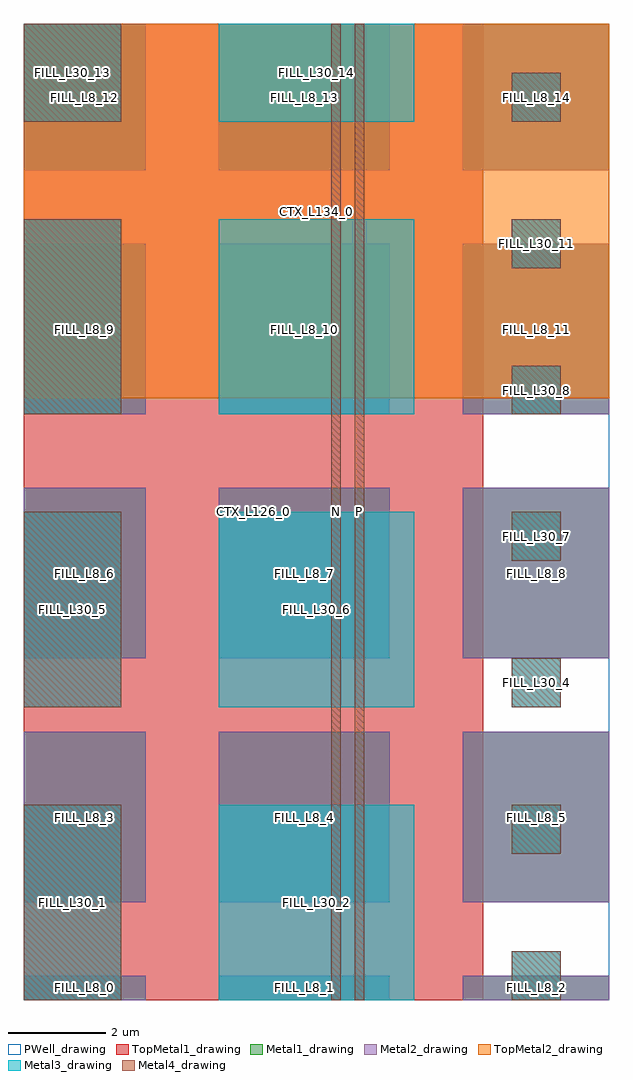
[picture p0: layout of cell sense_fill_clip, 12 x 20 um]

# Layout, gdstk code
import gdstk
lib = gdstk.Library(unit=1e-6, precision=1e-09)
def R(c, l, rs):  # rectangles x0, y0, x1, y1
    for r in rs: c.add(gdstk.rectangle(r[:2], r[2:], *l))
def A(c, l, x, y, w, h, nx, ny, dx, dy):  # array of equal rectangles
    R(c, l, [(x+i*dx, y+j*dy, x+i*dx+w, y+j*dy+h) for i in range(nx) for j in range(ny)])
Metal1_drawing = (8, 0)
Metal2_drawing = (10, 0)
Metal3_drawing = (30, 0)
PWell_drawing = (46, 0)
Metal4_drawing = (50, 0)
TopMetal1_drawing = (126, 0)
TopMetal2_drawing = (134, 0)

sense_fill_clip = lib.new_cell('sense_fill_clip')
A(sense_fill_clip, Metal1_drawing, 1016, 470, 2.5, 3.5, 1, 3, 0, 5)
A(sense_fill_clip, Metal1_drawing, 1020, 470, 3.5, 3.5, 1, 3, 0, 5)
A(sense_fill_clip, Metal1_drawing, 1025, 470, 3, 3.5, 1, 3, 0, 5)
R(sense_fill_clip, Metal1_drawing, [(1016,468,1018.5,468.5), (1020,468,1023.5,468.5), (1025,468,1028,468.5), (1016,485,1018.5,488), (1020,485,1023.5,488), (1025,485,1028,488)])
A(sense_fill_clip, Metal2_drawing, 1016, 470, 2.5, 3.5, 1, 3, 0, 5)
A(sense_fill_clip, Metal2_drawing, 1020, 470, 3.5, 3.5, 1, 3, 0, 5)
A(sense_fill_clip, Metal2_drawing, 1025, 470, 3, 3.5, 1, 3, 0, 5)
R(sense_fill_clip, Metal2_drawing, [(1016,468,1018.5,468.5), (1020,468,1023.5,468.5), (1025,468,1028,468.5), (1016,485,1018.5,488), (1020,485,1023.5,488), (1025,485,1028,488)])
A(sense_fill_clip, Metal3_drawing, 1016, 468, 2, 4, 1, 3, 0, 6)
A(sense_fill_clip, Metal3_drawing, 1020, 468, 4, 4, 1, 3, 0, 6)
A(sense_fill_clip, Metal3_drawing, 1026, 468, 1, 1, 1, 7, 0, 3)
R(sense_fill_clip, Metal3_drawing, [(1016,486,1018,488), (1020,486,1024,488)])
R(sense_fill_clip, PWell_drawing, [(1016,468,1028,488), (1016,468,1028,488)])
A(sense_fill_clip, Metal4_drawing, 1016, 468, 2, 4, 1, 3, 0, 6)
A(sense_fill_clip, Metal4_drawing, 1026, 468, 1, 1, 1, 7, 0, 3)
R(sense_fill_clip, Metal4_drawing, [(1022.3,468,1022.5,488), (1022.78,468,1022.98,488), (1016,486,1018,488)])
R(sense_fill_clip, TopMetal1_drawing, [(1016,468,1025.42,488)])
R(sense_fill_clip, TopMetal2_drawing, [(1016,480.33,1028,488)])
sense_fill_clip.add(gdstk.Label('FILL_L8_0', (1017.25,468.25), layer=8, texttype=25))
sense_fill_clip.add(gdstk.Label('FILL_L8_5', (1026.5,471.75), layer=8, texttype=25))
sense_fill_clip.add(gdstk.Label('FILL_L8_3', (1017.25,471.75), layer=8, texttype=25))
sense_fill_clip.add(gdstk.Label('FILL_L8_4', (1021.75,471.75), layer=8, texttype=25))
sense_fill_clip.add(gdstk.Label('FILL_L8_11', (1026.5,481.75), layer=8, texttype=25))
sense_fill_clip.add(gdstk.Label('FILL_L8_6', (1017.25,476.75), layer=8, texttype=25))
sense_fill_clip.add(gdstk.Label('FILL_L8_2', (1026.5,468.25), layer=8, texttype=25))
sense_fill_clip.add(gdstk.Label('FILL_L8_9', (1017.25,481.75), layer=8, texttype=25))
sense_fill_clip.add(gdstk.Label('FILL_L8_7', (1021.75,476.75), layer=8, texttype=25))
sense_fill_clip.add(gdstk.Label('FILL_L8_8', (1026.5,476.75), layer=8, texttype=25))
sense_fill_clip.add(gdstk.Label('FILL_L8_14', (1026.5,486.5), layer=8, texttype=25))
sense_fill_clip.add(gdstk.Label('FILL_L8_10', (1021.75,481.75), layer=8, texttype=25))
sense_fill_clip.add(gdstk.Label('FILL_L8_13', (1021.75,486.5), layer=8, texttype=25))
sense_fill_clip.add(gdstk.Label('FILL_L8_1', (1021.75,468.25), layer=8, texttype=25))
sense_fill_clip.add(gdstk.Label('FILL_L8_12', (1017.25,486.5), layer=8, texttype=25))
sense_fill_clip.add(gdstk.Label('FILL_L10_14', (1026.5,486.5), layer=10, texttype=25))
sense_fill_clip.add(gdstk.Label('FILL_L10_0', (1017.25,468.25), layer=10, texttype=25))
sense_fill_clip.add(gdstk.Label('FILL_L10_4', (1021.75,471.75), layer=10, texttype=25))
sense_fill_clip.add(gdstk.Label('FILL_L10_3', (1017.25,471.75), layer=10, texttype=25))
sense_fill_clip.add(gdstk.Label('FILL_L10_5', (1026.5,471.75), layer=10, texttype=25))
sense_fill_clip.add(gdstk.Label('FILL_L10_6', (1017.25,476.75), layer=10, texttype=25))
sense_fill_clip.add(gdstk.Label('FILL_L10_7', (1021.75,476.75), layer=10, texttype=25))
sense_fill_clip.add(gdstk.Label('FILL_L10_8', (1026.5,476.75), layer=10, texttype=25))
sense_fill_clip.add(gdstk.Label('FILL_L10_1', (1021.75,468.25), layer=10, texttype=25))
sense_fill_clip.add(gdstk.Label('FILL_L10_10', (1021.75,481.75), layer=10, texttype=25))
sense_fill_clip.add(gdstk.Label('FILL_L10_11', (1026.5,481.75), layer=10, texttype=25))
sense_fill_clip.add(gdstk.Label('FILL_L10_2', (1026.5,468.25), layer=10, texttype=25))
sense_fill_clip.add(gdstk.Label('FILL_L10_9', (1017.25,481.75), layer=10, texttype=25))
sense_fill_clip.add(gdstk.Label('FILL_L10_13', (1021.75,486.5), layer=10, texttype=25))
sense_fill_clip.add(gdstk.Label('FILL_L10_12', (1017.25,486.5), layer=10, texttype=25))
sense_fill_clip.add(gdstk.Label('FILL_L30_14', (1022,487), layer=30, texttype=25))
sense_fill_clip.add(gdstk.Label('FILL_L30_1', (1017,470), layer=30, texttype=25))
sense_fill_clip.add(gdstk.Label('FILL_L30_2', (1022,470), layer=30, texttype=25))
sense_fill_clip.add(gdstk.Label('FILL_L30_0', (1026.5,468.5), layer=30, texttype=25))
sense_fill_clip.add(gdstk.Label('FILL_L30_13', (1017,487), layer=30, texttype=25))
sense_fill_clip.add(gdstk.Label('FILL_L30_5', (1017,476), layer=30, texttype=25))
sense_fill_clip.add(gdstk.Label('FILL_L30_12', (1026.5,486.5), layer=30, texttype=25))
sense_fill_clip.add(gdstk.Label('FILL_L30_6', (1022,476), layer=30, texttype=25))
sense_fill_clip.add(gdstk.Label('FILL_L30_7', (1026.5,477.5), layer=30, texttype=25))
sense_fill_clip.add(gdstk.Label('FILL_L30_9', (1017,482), layer=30, texttype=25))
sense_fill_clip.add(gdstk.Label('FILL_L30_8', (1026.5,480.5), layer=30, texttype=25))
sense_fill_clip.add(gdstk.Label('FILL_L30_3', (1026.5,471.5), layer=30, texttype=25))
sense_fill_clip.add(gdstk.Label('FILL_L30_4', (1026.5,474.5), layer=30, texttype=25))
sense_fill_clip.add(gdstk.Label('FILL_L30_11', (1026.5,483.5), layer=30, texttype=25))
sense_fill_clip.add(gdstk.Label('FILL_L30_10', (1022,482), layer=30, texttype=25))
sense_fill_clip.add(gdstk.Label('FILL_L50_10', (1017,487), layer=50, texttype=25))
sense_fill_clip.add(gdstk.Label('FILL_L50_9', (1026.5,486.5), layer=50, texttype=25))
sense_fill_clip.add(gdstk.Label('FILL_L50_5', (1026.5,477.5), layer=50, texttype=25))
sense_fill_clip.add(gdstk.Label('FILL_L50_8', (1026.5,483.5), layer=50, texttype=25))
sense_fill_clip.add(gdstk.Label('FILL_L50_7', (1017,482), layer=50, texttype=25))
sense_fill_clip.add(gdstk.Label('N', (1022.4,478), layer=50, texttype=25))
sense_fill_clip.add(gdstk.Label('FILL_L50_6', (1026.5,480.5), layer=50, texttype=25))
sense_fill_clip.add(gdstk.Label('FILL_L50_4', (1017,476), layer=50, texttype=25))
sense_fill_clip.add(gdstk.Label('FILL_L50_2', (1026.5,471.5), layer=50, texttype=25))
sense_fill_clip.add(gdstk.Label('FILL_L50_0', (1026.5,468.5), layer=50, texttype=25))
sense_fill_clip.add(gdstk.Label('P', (1022.88,478), layer=50, texttype=25))
sense_fill_clip.add(gdstk.Label('FILL_L50_3', (1026.5,474.5), layer=50, texttype=25))
sense_fill_clip.add(gdstk.Label('FILL_L50_1', (1017,470), layer=50, texttype=25))
sense_fill_clip.add(gdstk.Label('FILL_L67_14', (1022,487), layer=67, texttype=25))
sense_fill_clip.add(gdstk.Label('FILL_L67_13', (1017,487), layer=67, texttype=25))
sense_fill_clip.add(gdstk.Label('FILL_L67_1', (1017,470), layer=67, texttype=25))
sense_fill_clip.add(gdstk.Label('FILL_L67_3', (1026.5,471.5), layer=67, texttype=25))
sense_fill_clip.add(gdstk.Label('FILL_L67_0', (1026.5,468.5), layer=67, texttype=25))
sense_fill_clip.add(gdstk.Label('FILL_L67_4', (1026.5,474.5), layer=67, texttype=25))
sense_fill_clip.add(gdstk.Label('FILL_L67_7', (1026.5,477.5), layer=67, texttype=25))
sense_fill_clip.add(gdstk.Label('FILL_L67_10', (1022,482), layer=67, texttype=25))
sense_fill_clip.add(gdstk.Label('FILL_L67_5', (1017,476), layer=67, texttype=25))
sense_fill_clip.add(gdstk.Label('FILL_L67_9', (1017,482), layer=67, texttype=25))
sense_fill_clip.add(gdstk.Label('FILL_L67_12', (1026.5,486.5), layer=67, texttype=25))
sense_fill_clip.add(gdstk.Label('FILL_L67_6', (1022,476), layer=67, texttype=25))
sense_fill_clip.add(gdstk.Label('FILL_L67_2', (1022,470), layer=67, texttype=25))
sense_fill_clip.add(gdstk.Label('FILL_L67_11', (1026.5,483.5), layer=67, texttype=25))
sense_fill_clip.add(gdstk.Label('FILL_L67_8', (1026.5,480.5), layer=67, texttype=25))
sense_fill_clip.add(gdstk.Label('CTX_L126_0', (1020.71,478), layer=126, texttype=25))
sense_fill_clip.add(gdstk.Label('CTX_L134_0', (1022,484.165), layer=134, texttype=25))

lib.write_gds('sense_fill_clip.gds')
